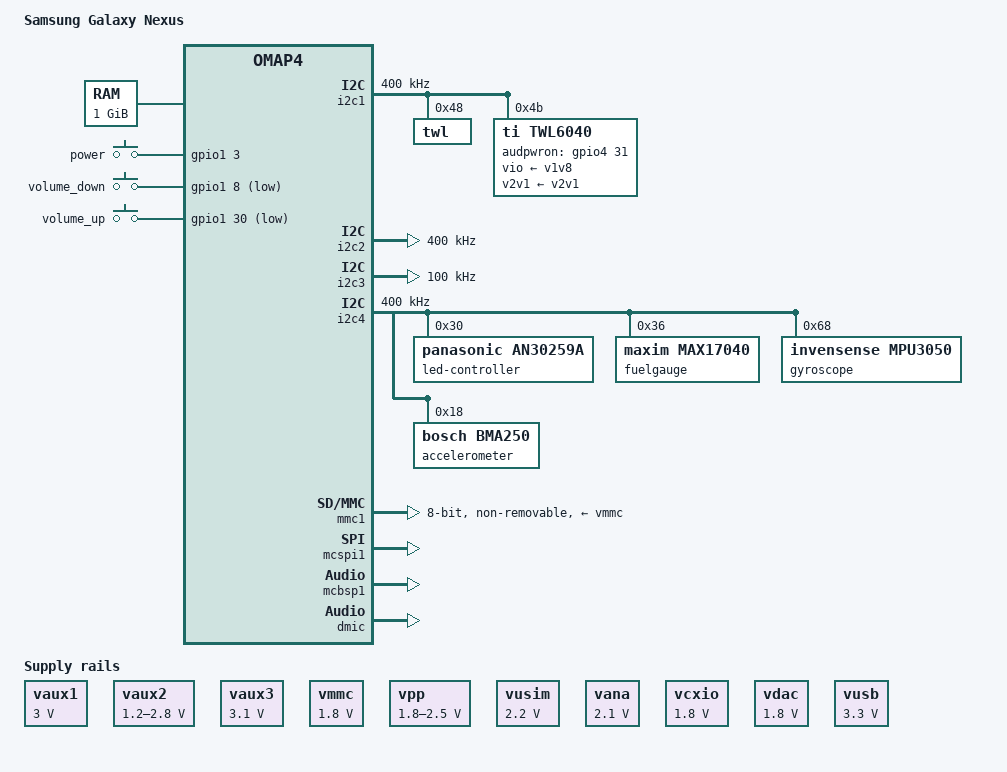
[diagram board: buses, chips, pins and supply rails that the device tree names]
// SPDX-License-Identifier: GPL-2.0
/dts-v1/;

#include "omap4460.dtsi"
#include "omap4-mcpdm.dtsi"
#include <dt-bindings/input/input.h>

/ {
	model = "Samsung Galaxy Nexus";
	compatible = "ti,tuna", "ti,omap4460", "ti,omap4";

	memory@80000000 {
		device_type = "memory";
		reg = <0x80000000 0x40000000>; /* 1 GB */
	};

	reserved-memory {
		#address-cells = <1>;
		#size-cells = <1>;
		ranges;

		ramoops_region@a0000000 {
			no-map;
			reg = <0xa0000000 0x200000>;
		};

		framebuffer_region@bea70000 {
			no-map;
			reg = <0xbea70000 (720 * 1280 * 4)>;
		};
	};

	chosen {
		#address-cells = <1>;
		#size-cells = <1>;
		ranges;

		framebuffer@bea70000 {
			compatible = "simple-framebuffer";
			reg = <0xbea70000 (720 * 1280 * 4)>;
			width = <720>;
			height = <1280>;
			stride = <(720 * 4)>;
			format = "a8r8g8b8";

			vdd3-supply = <&vaux3>;
			vci-supply = <&vusim>;
		};
	};

	gpio-keys {
		compatible = "gpio-keys";

		power {
			label = "power";
			gpios = <&gpio1 3 GPIO_ACTIVE_HIGH>;
			linux,code = <KEY_POWER>;
			wakeup-source;
		};

		volume-down {
			label = "volume_down";
			gpios = <&gpio1 8 GPIO_ACTIVE_LOW>;
			linux,code = <KEY_VOLUMEDOWN>;
		};

		volume-up {
			label = "volume_up";
			gpios = <&gpio1 30 GPIO_ACTIVE_LOW>;
			linux,code = <KEY_VOLUMEUP>;
		};
	};

	sound {
		compatible = "ti,abe-twl6040";
		ti,model = "SDP4430";

		ti,jack-detection = <1>;
		ti,mclk-freq = <38400000>;

		ti,mcpdm = <&mcpdm>;
		/*ti,dmic = <&dmic>;*/

		ti,twl6040 = <&twl6040>;

		/* Audio routing */
		ti,audio-routing =
			"Headset Stereophone", "HSOL",
			"Headset Stereophone", "HSOR",
			"Earphone Spk", "EP",
			"Ext Spk", "HFL",
			"Ext Spk", "HFR",
			"Line Out", "AUXL",
			"Line Out", "AUXR",
			"Vibrator", "VIBRAL",
			"Vibrator", "VIBRAR",
			"HSMIC", "Headset Mic",
			"Headset Mic", "Headset Mic Bias",
			"MAINMIC", "Main Handset Mic",
			"Main Handset Mic", "Main Mic Bias",
			"SUBMIC", "Sub Handset Mic",
			"Sub Handset Mic", "Main Mic Bias",
			"AFML", "Line In",
			"AFMR", "Line In",
			"DMic", "Digital Mic",
			"Digital Mic", "Digital Mic1 Bias";
	};
};

&omap4_pmx_core {
	twl6040_pins: pinmux_twl6040_pins {
		pinctrl-single,pins = <
			OMAP4_IOPAD(0x120, PIN_OUTPUT | MUX_MODE3)	/* hdq_sio.gpio_127 */
			OMAP4_IOPAD(0x1a0, PIN_INPUT | MUX_MODE0)	/* sys_nirq2.sys_nirq2 */
		>;
	};

	dmic_pins: pinmux_dmic_pins {
		pinctrl-single,pins = <
			OMAP4_IOPAD(0x110, PIN_OUTPUT | MUX_MODE0)		/* abe_dmic_clk1.abe_dmic_clk1 */
			OMAP4_IOPAD(0x112, PIN_INPUT | MUX_MODE0)		/* abe_dmic_din1.abe_dmic_din1 */
			OMAP4_IOPAD(0x114, PIN_INPUT | MUX_MODE0)		/* abe_dmic_din2.abe_dmic_din2 */
			OMAP4_IOPAD(0x116, PIN_INPUT | MUX_MODE0)		/* abe_dmic_din3.abe_dmic_din3 */
		>;
	};

	mcbsp1_pins: pinmux_mcbsp1_pins {
		pinctrl-single,pins = <
			OMAP4_IOPAD(0x0fe, PIN_INPUT | MUX_MODE0)		/* abe_mcbsp1_clkx.abe_mcbsp1_clkx */
			OMAP4_IOPAD(0x100, PIN_INPUT_PULLDOWN | MUX_MODE0)	/* abe_mcbsp1_dr.abe_mcbsp1_dr */
			OMAP4_IOPAD(0x102, PIN_OUTPUT_PULLDOWN | MUX_MODE0)	/* abe_mcbsp1_dx.abe_mcbsp1_dx */
			OMAP4_IOPAD(0x104, PIN_INPUT | MUX_MODE0)		/* abe_mcbsp1_fsx.abe_mcbsp1_fsx */
		>;
	};

	mcbsp2_pins: pinmux_mcbsp2_pins {
		pinctrl-single,pins = <
			OMAP4_IOPAD(0x0f6, PIN_INPUT | MUX_MODE0)		/* abe_mcbsp2_clkx.abe_mcbsp2_clkx */
			OMAP4_IOPAD(0x0f8, PIN_INPUT_PULLDOWN | MUX_MODE0)	/* abe_mcbsp2_dr.abe_mcbsp2_dr */
			OMAP4_IOPAD(0x0fa, PIN_OUTPUT_PULLDOWN | MUX_MODE0)	/* abe_mcbsp2_dx.abe_mcbsp2_dx */
			OMAP4_IOPAD(0x0fc, PIN_INPUT | MUX_MODE0)		/* abe_mcbsp2_fsx.abe_mcbsp2_fsx */
		>;
	};

	mcspi1_pins: pinmux_mcspi1_pins {
		pinctrl-single,pins = <
			OMAP4_IOPAD(0x132, PIN_INPUT | MUX_MODE0)		/* mcspi1_clk.mcspi1_clk */
			OMAP4_IOPAD(0x134, PIN_INPUT | MUX_MODE0)		/* mcspi1_somi.mcspi1_somi */
			OMAP4_IOPAD(0x136, PIN_INPUT | MUX_MODE0)		/* mcspi1_simo.mcspi1_simo */
			OMAP4_IOPAD(0x138, PIN_INPUT | MUX_MODE0)		/* mcspi1_cs0.mcspi1_cs0 */
		>;
	};

	i2c1_pins: pinmux_i2c1_pins {
		pinctrl-single,pins = <
			OMAP4_IOPAD(0x122, PIN_INPUT_PULLUP | MUX_MODE0)	/* i2c1_scl */
			OMAP4_IOPAD(0x124, PIN_INPUT_PULLUP | MUX_MODE0)	/* i2c1_sda */
		>;
	};

	i2c2_pins: pinmux_i2c2_pins {
		pinctrl-single,pins = <
			OMAP4_IOPAD(0x126, PIN_INPUT_PULLUP | MUX_MODE0)	/* i2c2_scl */
			OMAP4_IOPAD(0x128, PIN_INPUT_PULLUP | MUX_MODE0)	/* i2c2_sda */
		>;
	};

	i2c3_pins: pinmux_i2c3_pins {
		pinctrl-single,pins = <
			OMAP4_IOPAD(0x12a, PIN_INPUT_PULLUP | MUX_MODE0)	/* i2c3_scl */
			OMAP4_IOPAD(0x12c, PIN_INPUT_PULLUP | MUX_MODE0)	/* i2c3_sda */
		>;
	};

	i2c4_pins: pinmux_i2c4_pins {
		pinctrl-single,pins = <
			OMAP4_IOPAD(0x12e, PIN_INPUT_PULLUP | MUX_MODE0)	/* i2c4_scl */
			OMAP4_IOPAD(0x130, PIN_INPUT_PULLUP | MUX_MODE0)	/* i2c4_sda */
		>;
	};

	mmc1_pins: pinmux_mmc1_pins {
		pinctrl-single,pins = <
			/* https://github.com/LineageOS/android_kernel_samsung_tuna/blob/3900c2b6dcee9198e4e03abfecdedd1c30f68c0f/arch/arm/mach-omap2/mux44xx.h#L113-L122 */
			OMAP4_IOPAD(0xe2, PIN_OUTPUT | MUX_MODE0)	/* sdmmc1_clk */
			OMAP4_IOPAD(0xe4, PIN_INPUT_PULLUP | MUX_MODE0)	/* sdmmc1_cmd */
			OMAP4_IOPAD(0xe6, PIN_INPUT_PULLUP | MUX_MODE0)	/* sdmmc1_dat0 */
			OMAP4_IOPAD(0xe8, PIN_INPUT_PULLUP | MUX_MODE0)	/* sdmmc1_dat1 */
			OMAP4_IOPAD(0xea, PIN_INPUT_PULLUP | MUX_MODE0)	/* sdmmc1_dat2 */
			OMAP4_IOPAD(0xec, PIN_INPUT_PULLUP | MUX_MODE0)	/* sdmmc1_dat3 */
			OMAP4_IOPAD(0xee, PIN_INPUT_PULLUP | MUX_MODE0)	/* sdmmc1_dat4 */
			OMAP4_IOPAD(0xf0, PIN_INPUT_PULLUP | MUX_MODE0)	/* sdmmc1_dat5 */
			OMAP4_IOPAD(0xf2, PIN_INPUT_PULLUP | MUX_MODE0)	/* sdmmc1_dat6 */
			OMAP4_IOPAD(0xf4, PIN_INPUT_PULLUP | MUX_MODE0)	/* sdmmc1_dat7 */
		>;
	};
};

&i2c1 {
	pinctrl-names = "default";
	pinctrl-0 = <&i2c1_pins>;

	clock-frequency = <400000>;

	twl: twl@48 {
		reg = <0x48>;
		interrupts = <GIC_SPI 7 IRQ_TYPE_LEVEL_HIGH>;		/* IRQ_SYS_1N cascaded to gic */
	};

	twl6040: twl@4b {
		compatible = "ti,twl6040";
		#clock-cells = <0>;
		reg = <0x4b>;

		pinctrl-names = "default";
		pinctrl-0 = <&twl6040_pins>;

		interrupts = <GIC_SPI 119 IRQ_TYPE_LEVEL_HIGH>;		/* IRQ_SYS_2N cascaded to gic */
		ti,audpwron-gpio = <&gpio4 31 GPIO_ACTIVE_HIGH>;	/* gpio line 127 */

		vio-supply = <&v1v8>;
		v2v1-supply = <&v2v1>;
		enable-active-high;
	};
};

&i2c2 {
	pinctrl-names = "default";
	pinctrl-0 = <&i2c2_pins>;

	clock-frequency = <400000>;
};

&i2c3 {
	pinctrl-names = "default";
	pinctrl-0 = <&i2c3_pins>;

	clock-frequency = <100000>;
};

&i2c4 {
	pinctrl-names = "default";
	pinctrl-0 = <&i2c4_pins>;

	clock-frequency = <400000>;

	led-controller@30 {
		compatible = "panasonic,an30259a";
		reg = <0x30>;
		#address-cells = <1>;
		#size-cells = <0>;

		led@1 {
			reg = <1>;
			label = "red:indicator";
		};

		led@2 {
			reg = <2>;
			label = "green:indicator";
		};

		led@3 {
			reg = <3>;
			label = "blue:indicator";
		};
	};

	fuelgauge@36 {
		compatible = "maxim,max17040";
		reg = <0x36>;
	};

	gyroscope@68 {
		compatible = "invensense,mpu3050";
		reg = <0x68>;
	};

	accelerometer@18 {
		compatible = "bosch,bma250";
		reg = <0x18>;
	};
};

#include "twl6030.dtsi"
#include "twl6030_omap4.dtsi"

&vaux1 {
	/* https://github.com/LineageOS/android_kernel_samsung_tuna/blob/3900c2b6dcee9198e4e03abfecdedd1c30f68c0f/arch/arm/mach-omap2/board-tuna.c#L427-L441 */
	regulator-min-microvolt = <3000000>;
	regulator-max-microvolt = <3000000>;
	regulator-always-on;
};

&vaux2 {
	/* https://github.com/LineageOS/android_kernel_samsung_tuna/blob/3900c2b6dcee9198e4e03abfecdedd1c30f68c0f/arch/arm/mach-omap2/board-tuna.c#L443-L458 */
	regulator-min-microvolt = <1200000>;
	regulator-max-microvolt = <2800000>;
	regulator-state-mem {
		regulator-off-in-suspend;
	};
};

&vaux3 {
	/* https://github.com/LineageOS/android_kernel_samsung_tuna/blob/3900c2b6dcee9198e4e03abfecdedd1c30f68c0f/arch/arm/mach-omap2/board-tuna.c#L466-L482 */
	regulator-min-microvolt = <3100000>;
	regulator-max-microvolt = <3100000>;
};

&vmmc {
	/* https://github.com/LineageOS/android_kernel_samsung_tuna/blob/3900c2b6dcee9198e4e03abfecdedd1c30f68c0f/arch/arm/mach-omap2/board-tuna.c#L484-L500 */
	regulator-min-microvolt = <1800000>;
	regulator-max-microvolt = <1800000>;
};

&vpp {
	/* https://github.com/LineageOS/android_kernel_samsung_tuna/blob/3900c2b6dcee9198e4e03abfecdedd1c30f68c0f/arch/arm/mach-omap2/board-tuna.c#L502-L517 */
	regulator-min-microvolt = <1800000>;
	regulator-max-microvolt = <2500000>;
	regulator-state-mem {
		regulator-off-in-suspend;
	};
};

&vusim {
	/* https://github.com/LineageOS/android_kernel_samsung_tuna/blob/3900c2b6dcee9198e4e03abfecdedd1c30f68c0f/arch/arm/mach-omap2/board-tuna.c#L525-L539 */
	regulator-min-microvolt = <2200000>;
	regulator-max-microvolt = <2200000>;
};

&vana {
	/* https://github.com/LineageOS/android_kernel_samsung_tuna/blob/3900c2b6dcee9198e4e03abfecdedd1c30f68c0f/arch/arm/mach-omap2/board-tuna.c#L541-L554 */
	regulator-min-microvolt = <2100000>;
	regulator-max-microvolt = <2100000>;
	regulator-always-on;
};

&vcxio {
	/* https://github.com/LineageOS/android_kernel_samsung_tuna/blob/3900c2b6dcee9198e4e03abfecdedd1c30f68c0f/arch/arm/mach-omap2/board-tuna.c#L561-L576 */
	regulator-min-microvolt = <1800000>;
	regulator-max-microvolt = <1800000>;
};

&vdac {
	/* https://github.com/LineageOS/android_kernel_samsung_tuna/blob/3900c2b6dcee9198e4e03abfecdedd1c30f68c0f/arch/arm/mach-omap2/board-tuna.c#L584-L598 */
	regulator-min-microvolt = <1800000>;
	regulator-max-microvolt = <1800000>;
};

&vusb {
	/* https://github.com/LineageOS/android_kernel_samsung_tuna/blob/3900c2b6dcee9198e4e03abfecdedd1c30f68c0f/arch/arm/mach-omap2/board-tuna.c#L604-L619 */
	regulator-min-microvolt = <3300000>;
	regulator-max-microvolt = <3300000>;
	regulator-state-mem {
		regulator-off-in-suspend;
	};
};

&mmc1 {
	status = "okay";
	pinctrl-names = "default";
	pinctrl-0 = <&mmc1_pins>;

	vmmc-supply = <&vmmc>;
	bus-width = <8>;
	cap-mmc-highspeed;
	non-removable;
};

&mmc2 {
	status = "disabled";
};

&mmc3 {
	status = "disabled";
};

&mmc4 {
	status = "disabled";
};

&mmc5 {
	status = "disabled";
};

&mcspi1 {
	status = "okay";
	pinctrl-names = "default";
	pinctrl-0 = <&mcspi1_pins>;

	ti,pindir-d0-out-d1-in;
};

&mcspi2 {
	status = "disabled";
};

&mcspi3 {
	status = "disabled";
};

&mcspi4 {
	status = "disabled";
};

&mcbsp1 {
	status = "okay";
	pinctrl-names = "default";
	pinctrl-0 = <&mcbsp1_pins>;
};

&mcbsp2 {
	status = "disabled";
};

&mcbsp3 {
	status = "disabled";
};

/*&mcbsp2 {
	status = "okay";
	pinctrl-names = "default";
	pinctrl-0 = <&mcbsp2_pins>;
};*/

&dmic {
	status = "okay";
	pinctrl-names = "default";
	pinctrl-0 = <&dmic_pins>;
};

&twl_usb_comparator {
	usb-supply = <&vusb>;
};

&usb_otg_hs {
	interface-type = <1>;
	mode = <3>;
	power = <50>;
};

&usbhshost {
	port1-mode = "ehci-phy";
};
